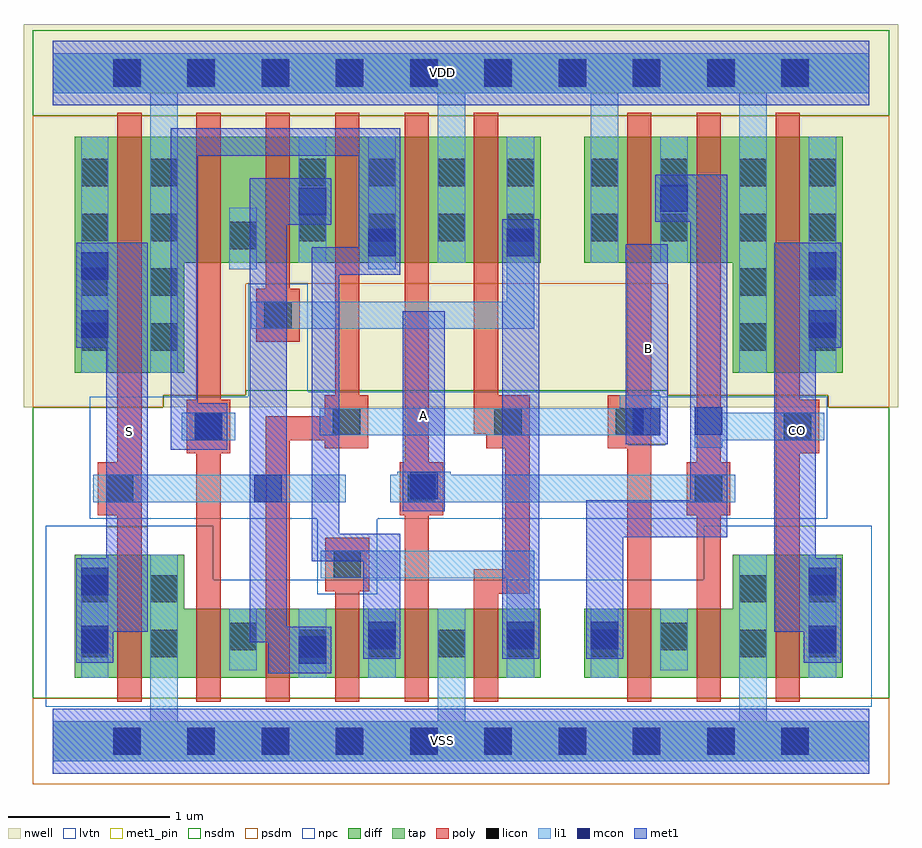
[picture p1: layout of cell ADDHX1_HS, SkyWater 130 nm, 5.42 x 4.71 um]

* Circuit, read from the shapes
.subckt ADDHX1_HS A B CO S VDD VSS
XM1 VSS n1 S VSS sky130_fd_pr__nfet_01v8_lvt w=0.76 l=0.15
XM2 n2 n3 VSS VSS sky130_fd_pr__nfet_01v8_lvt w=0.425 l=0.15
XM3 n1 B n2 VSS sky130_fd_pr__nfet_01v8_lvt w=0.425 l=0.15
XM4 n3 n4 n1 VSS sky130_fd_pr__nfet_01v8_lvt w=0.425 l=0.15
XM5 VSS A n3 VSS sky130_fd_pr__nfet_01v8_lvt w=0.425 l=0.15
XM6 n4 B VSS VSS sky130_fd_pr__nfet_01v8_lvt w=0.425 l=0.15
XM7 n5 B n6 VSS sky130_fd_pr__nfet_01v8_lvt w=0.425 l=0.15
XM8 VSS A n5 VSS sky130_fd_pr__nfet_01v8_lvt w=0.425 l=0.15
XM9 CO n6 VSS VSS sky130_fd_pr__nfet_01v8_lvt w=0.76 l=0.15
XM10 VDD n1 S VDD sky130_fd_pr__pfet_01v8 w=1.46 l=0.15
XM11 n7 n3 VDD VDD sky130_fd_pr__pfet_01v8 w=0.78 l=0.15
XM12 n1 n4 n7 VDD sky130_fd_pr__pfet_01v8 w=0.78 l=0.15
XM13 n3 B n1 VDD sky130_fd_pr__pfet_01v8 w=0.78 l=0.15
XM14 VDD A n3 VDD sky130_fd_pr__pfet_01v8 w=0.78 l=0.15
XM15 n4 B VDD VDD sky130_fd_pr__pfet_01v8 w=0.78 l=0.15
XM16 n6 B VDD VDD sky130_fd_pr__pfet_01v8 w=0.78 l=0.15
XM17 VDD A n6 VDD sky130_fd_pr__pfet_01v8 w=0.78 l=0.15
XM18 CO n6 VDD VDD sky130_fd_pr__pfet_01v8 w=1.46 l=0.15
.ends

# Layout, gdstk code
from math import pi, radians
import gdstk
lib = gdstk.Library(unit=1e-6, precision=1e-09)
def R(c, l, rs):  # rectangles x0, y0, x1, y1
    for r in rs: c.add(gdstk.rectangle(r[:2], r[2:], *l))
def A(c, l, x, y, w, h, nx, ny, dx, dy):  # array of equal rectangles
    R(c, l, [(x+i*dx, y+j*dy, x+i*dx+w, y+j*dy+h) for i in range(nx) for j in range(ny)])
def P(c, l, *ps):  # polygons
    for p in ps: c.add(gdstk.Polygon(p, *l))
nwell = (64, 20)
diff = (65, 20)
tap = (65, 44)
poly = (66, 20)
licon = (66, 44)
li1 = (67, 20)
mcon = (67, 44)
met1_pin = (68, 16)
met1 = (68, 20)
nsdm = (93, 44)
psdm = (94, 20)
npc = (95, 20)
lvtn = (125, 44)

l1m1_c_cdns_750721774078 = lib.new_cell('L1M1_C_CDNS_750721774078')
R(l1m1_c_cdns_750721774078, li1, [(-0.165,-0.165,0.085,0.085)])
R(l1m1_c_cdns_750721774078, mcon, [(-0.085,-0.085,0.085,0.085)])
R(l1m1_c_cdns_750721774078, met1, [(-0.115,-0.145,0.115,0.145)])

l1m1_c_cdns_750721774079 = lib.new_cell('L1M1_C_CDNS_750721774079')
R(l1m1_c_cdns_750721774079, li1, [(-0.085,-0.165,0.085,0.085)])
R(l1m1_c_cdns_750721774079, mcon, [(-0.085,-0.085,0.085,0.085)])
R(l1m1_c_cdns_750721774079, met1, [(-0.115,-0.145,0.115,0.145)])

l1m1_c_cdns_750721774072 = lib.new_cell('L1M1_C_CDNS_750721774072')
R(l1m1_c_cdns_750721774072, li1, [(-0.085,-0.165,0.085,0.165)])
R(l1m1_c_cdns_750721774072, mcon, [(-0.085,-0.085,0.085,0.085)])
R(l1m1_c_cdns_750721774072, met1, [(-0.115,-0.145,0.115,0.145)])

pyl1con_c_cdns_750721774 = lib.new_cell('PYL1CON_C_CDNS_750721774073')
R(pyl1con_c_cdns_750721774, poly, [(-0.135,-0.165,0.135,0.165)])
R(pyl1con_c_cdns_750721774, licon, [(-0.085,-0.085,0.085,0.085)])
R(pyl1con_c_cdns_750721774, npc, [(-0.185,-0.185,0.185,0.185)])

l1m1_c_cdns_750721774074 = lib.new_cell('L1M1_C_CDNS_750721774074')
R(l1m1_c_cdns_750721774074, li1, [(-0.165,-0.085,0.165,0.085)])
R(l1m1_c_cdns_750721774074, mcon, [(-0.085,-0.085,0.085,0.085)])
R(l1m1_c_cdns_750721774074, met1, [(-0.115,-0.145,0.115,0.145)])

licondiff_c_cdns_7507217 = lib.new_cell('LICONDIFF_C_CDNS_750721774075')
R(licondiff_c_cdns_7507217, diff, [(-0.125,-0.145,0.125,0.145)])
R(licondiff_c_cdns_7507217, licon, [(-0.085,-0.085,0.085,0.085), (-0.085,-0.085,0.085,0.085)])

l1m1_c_cdns_750721774076 = lib.new_cell('L1M1_C_CDNS_750721774076')
R(l1m1_c_cdns_750721774076, li1, [(-0.085,-0.345,0.085,0.345)])
R(l1m1_c_cdns_750721774076, mcon, [(-0.085,-0.265,0.085,-0.095), (-0.085,0.095,0.085,0.265)])
R(l1m1_c_cdns_750721774076, met1, [(-0.115,-0.325,0.115,0.325)])

addhx1_hs = lib.new_cell('ADDHX1_HS')
R(addhx1_hs, nwell, [(-0.18,2.07,5.24,4.305), (-0.045,2.105,0.995,3.925), (4.035,2.105,5.075,3.925), (0.635,2.785,1.275,3.925), (0.915,2.785,1.875,3.925), (1.515,2.785,2.305,3.925), (1.945,2.785,2.735,3.925), (2.375,2.785,3.205,3.925), (3.115,2.785,4.115,3.925), (3.755,2.785,4.395,3.925), (-0.18,3.875,5.24,4.445)])
A(addhx1_hs, diff, 0.89, 0.395, 0.15, 0.425, 5, 1, 0.43, 0)
A(addhx1_hs, diff, 0.89, 2.965, 0.15, 0.78, 5, 1, 0.43, 0)
A(addhx1_hs, diff, 1.47, 2.965, 0.225, 0.78, 3, 1, 0.43, 0)
A(addhx1_hs, diff, 1.695, 2.965, 0.055, 0.78, 3, 1, 0.43, 0)
R(addhx1_hs, diff, [(0.135,0.395,0.4,1.155), (0.4,0.395,0.55,1.155), (0.55,0.395,0.815,1.155), (0.815,0.395,0.89,0.82), (1.04,0.395,1.265,0.82), (1.265,0.395,1.32,0.82), (1.47,0.395,1.695,0.82), (1.695,0.395,1.75,0.82), (1.9,0.395,1.955,0.82), (1.955,0.395,2.18,0.82), (2.33,0.395,2.385,0.82), (2.385,0.395,2.61,0.82), (2.76,0.395,3.025,0.82), (3.295,0.395,3.56,0.82), (3.56,0.395,3.71,0.82), (3.71,0.395,3.765,0.82), (3.765,0.395,3.99,0.82), (3.99,0.395,4.14,0.82), (4.14,0.395,4.215,0.82), (4.215,0.395,4.48,1.155), (4.48,0.395,4.63,1.155), (4.63,0.395,4.895,1.155), (0.135,2.285,0.4,3.745), (0.4,2.285,0.55,3.745), (0.55,2.285,0.815,3.745), (4.215,2.285,4.48,3.745), (4.48,2.285,4.63,3.745), (4.63,2.285,4.895,3.745), (0.815,2.965,0.89,3.745), (1.04,2.965,1.095,3.745), (1.095,2.965,1.32,3.745), (2.76,2.965,3.025,3.745), (3.295,2.965,3.56,3.745), (3.56,2.965,3.71,3.745), (3.71,2.965,3.935,3.745), (3.935,2.965,3.99,3.745), (3.99,2.965,4.14,3.745), (4.14,2.965,4.215,3.745)])
A(addhx1_hs, poly, 0.89, 0.245, 0.15, 0.055, 5, 2, 0.43, 0.67)
A(addhx1_hs, poly, 0.89, 0.3, 0.15, 0.095, 5, 2, 0.43, 0.52)
A(addhx1_hs, poly, 0.89, 0.395, 0.15, 0.425, 5, 1, 0.43, 0)
A(addhx1_hs, poly, 1.75, 2.815, 0.15, 0.055, 3, 1, 0.43, 0)
A(addhx1_hs, poly, 0.89, 2.87, 0.15, 0.095, 5, 2, 0.43, 0.875)
A(addhx1_hs, poly, 0.89, 2.965, 0.15, 0.78, 5, 1, 0.43, 0)
A(addhx1_hs, poly, 0.89, 3.84, 0.15, 0.055, 5, 1, 0.43, 0)
R(addhx1_hs, poly, [(0.4,0.245,0.55,0.3), (3.56,0.245,3.71,0.3), (3.99,0.245,4.14,0.3), (4.48,0.245,4.63,0.3), (0.4,0.3,0.55,0.395), (3.56,0.3,3.71,0.395), (3.99,0.3,4.14,0.395), (4.48,0.3,4.63,0.395), (0.4,0.395,0.55,1.155), (3.56,0.395,3.71,0.82), (3.99,0.395,4.14,0.82), (4.48,0.395,4.63,1.155), (3.56,0.82,3.71,0.915), (3.99,0.82,4.14,0.915), (3.56,0.915,3.71,0.97), (3.99,0.915,4.14,0.97), (0.4,1.155,0.55,1.25), (4.48,1.155,4.63,1.25), (0.4,1.25,0.55,1.305), (4.48,1.25,4.63,1.305), (0.4,2.135,0.55,2.19), (4.48,2.135,4.63,2.19), (0.4,2.19,0.55,2.285), (4.48,2.19,4.63,2.285), (0.4,2.285,0.55,3.745), (4.48,2.285,4.63,3.745), (1.32,2.65,1.47,2.87), (0.89,2.815,1.04,2.87), (3.56,2.815,3.71,2.87), (3.99,2.815,4.14,2.87), (3.56,2.87,3.71,2.965), (3.99,2.87,4.14,2.965), (3.56,2.965,3.71,3.745), (3.99,2.965,4.14,3.745), (0.4,3.745,0.55,3.84), (3.56,3.745,3.71,3.84), (3.99,3.745,4.14,3.84), (4.48,3.745,4.63,3.84), (0.4,3.84,0.55,3.895), (3.56,3.84,3.71,3.895), (3.99,3.84,4.14,3.895), (4.48,3.84,4.63,3.895)])
A(addhx1_hs, licon, 0.375, -0.085, 0.17, 0.17, 10, 2, 0.46, 4.14)
A(addhx1_hs, licon, 1.525, 0.52, 0.17, 0.17, 4, 2, 0.43, 2.58)
A(addhx1_hs, licon, 0.175, 2.42, 0.17, 0.17, 1, 4, 0, 0.34)
A(addhx1_hs, licon, 0.605, 2.42, 0.17, 0.17, 1, 4, 0, 0.34)
A(addhx1_hs, licon, 4.255, 2.42, 0.17, 0.17, 1, 4, 0, 0.34)
A(addhx1_hs, licon, 4.685, 2.42, 0.17, 0.17, 1, 4, 0, 0.34)
A(addhx1_hs, licon, 1.525, 3.44, 0.17, 0.17, 4, 1, 0.43, 0)
R(addhx1_hs, licon, [(0.175,0.52,0.345,0.69), (0.605,0.52,0.775,0.69), (3.335,0.52,3.505,0.69), (4.255,0.52,4.425,0.69), (4.685,0.52,4.855,0.69), (0.175,0.86,0.345,1.03), (0.605,0.86,0.775,1.03), (4.255,0.86,4.425,1.03), (4.685,0.86,4.855,1.03), (3.335,3.1,3.505,3.27), (3.765,3.1,3.935,3.27), (3.335,3.44,3.505,3.61), (3.765,3.44,3.935,3.61)])
A(addhx1_hs, li1, 1.525, 0.395, 0.17, 0.425, 4, 1, 0.43, 0)
A(addhx1_hs, li1, 1.525, 2.965, 0.17, 0.78, 4, 1, 0.43, 0)
R(addhx1_hs, li1, [(0.175,0.395,0.345,1.155), (0.605,0.395,0.775,1.155), (3.335,0.395,3.505,0.82), (4.255,0.395,4.425,1.155), (4.685,0.395,4.855,1.155), (0.175,2.285,0.345,3.745), (0.605,2.285,0.775,3.745), (4.255,2.285,4.425,3.745), (4.685,2.285,4.855,3.745), (3.335,2.965,3.505,3.745), (3.765,2.965,3.935,3.745)])
A(addhx1_hs, mcon, 0.375, -0.085, 0.17, 0.17, 10, 2, 0.46, 4.14)
R(addhx1_hs, met1_pin, [(0.33,1.325,0.59,3.09), (4.47,1.33,4.73,3.09), (2.17,1.425,2.43,2.665), (3.55,1.84,3.81,3.08)])
R(addhx1_hs, met1, [(1.925,0.51,2.155,1.285), (1.895,2.89,2.155,3.635)])
R(addhx1_hs, nsdm, [(-0.005,0.265,0.955,1.285), (0.935,0.265,1.275,0.95), (1.255,0.265,1.705,0.95), (1.685,0.265,1.965,0.95), (1.945,0.265,2.395,0.95), (2.375,0.265,3.165,0.95), (3.155,0.265,3.775,0.95), (3.755,0.265,4.095,0.95), (4.075,0.265,5.035,1.285), (-0.125,3.875,5.185,4.405), (-0.125,3.93,5.185,4.35)])
P(addhx1_hs, nsdm, [(5.185,2.07),(4.805,2.07),(4.805,2.145),(3.81,2.145),(3.81,2.175),(1.195,2.175),(1.195,2.145),(0.685,2.145),(0.685,2.07),(-0.125,2.07),(-0.125,0.265),(5.185,0.265)])
R(addhx1_hs, psdm, [(-0.125,-0.265,5.185,0.265), (-0.125,-0.21,5.185,0.21), (-0.005,2.155,0.955,3.875), (4.075,2.155,5.035,3.875), (0.935,2.835,1.105,3.875), (1.085,2.835,1.705,3.875), (1.685,2.835,2.135,3.875), (2.115,2.835,2.565,3.875), (2.545,2.835,3.165,3.875), (3.155,2.835,3.945,3.875), (3.925,2.835,4.095,3.875)])
P(addhx1_hs, psdm, [(5.185,3.875),(-0.125,3.875),(-0.125,2.07),(0.685,2.07),(0.685,2.145),(1.195,2.145),(1.195,2.835),(3.81,2.835),(3.81,2.145),(4.805,2.145),(4.805,2.07),(5.185,2.07)])
R(addhx1_hs, npc, [(1.64,0.91,2.01,1.43), (1.21,2.045,1.58,2.835)])
P(addhx1_hs, npc, [(4.8,2.135),(3.76,2.135),(3.76,2.165),(1.21,2.165),(1.21,2.135),(0.23,2.135),(0.23,1.38),(4.8,1.38)])
R(addhx1_hs, lvtn, [(-0.045,0.215,0.995,1.335), (0.635,0.215,1.445,1), (1.085,0.215,1.875,1), (1.515,0.215,2.135,1), (1.775,0.215,2.565,1), (2.205,0.215,3.205,1), (3.115,0.215,3.945,1), (3.585,0.215,4.395,1), (4.035,0.215,5.075,1.335)])
addhx1_hs.add(gdstk.FlexPath([(4.34,0.59),(4.34,0)], 0.17, ends=(0, 0.125), simple_path=True, layer=67, datatype=20))  # li1
addhx1_hs.add(gdstk.FlexPath([(4.34,0),(5.06,0)], 0.25, ends=(0.085, 0), simple_path=True, layer=67, datatype=20))  # li1
addhx1_hs.add(gdstk.FlexPath([(0.69,0),(2.47,0)], 0.25, ends=(0.085, 0.085), simple_path=True, layer=67, datatype=20))  # li1
addhx1_hs.add(gdstk.FlexPath([(2.47,0),(3.42,0)], 0.25, ends=(0.085, 0.085), simple_path=True, layer=67, datatype=20))  # li1
addhx1_hs.add(gdstk.FlexPath([(3.42,0),(4.34,0)], 0.25, ends=(0.085, 0.085), simple_path=True, layer=67, datatype=20))  # li1
addhx1_hs.add(gdstk.FlexPath([(0,0),(0.69,0)], 0.25, ends=(0, 0.085), simple_path=True, layer=67, datatype=20))  # li1
addhx1_hs.add(gdstk.FlexPath([(2.47,4.14),(3.42,4.14)], 0.25, ends=(0.085, 0.085), simple_path=True, layer=67, datatype=20))  # li1
addhx1_hs.add(gdstk.FlexPath([(2.47,3.55),(2.47,4.14)], 0.17, ends=(0, 0.125), simple_path=True, layer=67, datatype=20))  # li1
addhx1_hs.add(gdstk.FlexPath([(0.69,3.55),(0.69,4.14)], 0.17, ends=(0, 0.125), simple_path=True, layer=67, datatype=20))  # li1
addhx1_hs.add(gdstk.FlexPath([(4.34,4.14),(5.06,4.14)], 0.25, ends=(0.085, 0), simple_path=True, layer=67, datatype=20))  # li1
addhx1_hs.add(gdstk.FlexPath([(4.34,3.55),(4.34,4.14)], 0.17, ends=(0, 0.125), simple_path=True, layer=67, datatype=20))  # li1
addhx1_hs.add(gdstk.FlexPath([(0.69,4.14),(2.47,4.14)], 0.25, ends=(0.085, 0.085), simple_path=True, layer=67, datatype=20))  # li1
addhx1_hs.add(gdstk.FlexPath([(0,4.14),(0.69,4.14)], 0.25, ends=(0, 0.085), simple_path=True, layer=67, datatype=20))  # li1
addhx1_hs.add(gdstk.FlexPath([(1.18,2.925),(1.18,3.305)], 0.17, ends="flush", simple_path=True, layer=67, datatype=20))  # li1
addhx1_hs.add(gdstk.FlexPath([(3.85,0.44),(3.85,0.82)], 0.17, ends="flush", simple_path=True, layer=67, datatype=20))  # li1
addhx1_hs.add(gdstk.FlexPath([(1.18,0.44),(1.18,0.82)], 0.17, ends="flush", simple_path=True, layer=67, datatype=20))  # li1
addhx1_hs.add(gdstk.FlexPath([(0.69,0.59),(0.69,0)], 0.17, ends=(0, 0.125), simple_path=True, layer=67, datatype=20))  # li1
addhx1_hs.add(gdstk.FlexPath([(1.815,1.565),(0.25,1.565)], 0.17, ends="flush", simple_path=True, layer=67, datatype=20))  # li1
addhx1_hs.add(gdstk.FlexPath([(2.9,3.14),(2.815,3.14)], 0.17, ends=(0.085, 0), simple_path=True, layer=67, datatype=20))  # li1
addhx1_hs.add(gdstk.FlexPath([(2.9,2.64),(2.9,3.14)], 0.17, ends="extended", simple_path=True, layer=67, datatype=20))  # li1
addhx1_hs.add(gdstk.FlexPath([(1.23,2.64),(2.9,2.64)], 0.17, ends=(0, 0.085), simple_path=True, layer=67, datatype=20))  # li1
addhx1_hs.add(gdstk.FlexPath([(2.9,0.605),(2.815,0.605)], 0.17, ends=(0.085, 0), simple_path=True, layer=67, datatype=20))  # li1
addhx1_hs.add(gdstk.FlexPath([(2.9,1.095),(2.9,0.605)], 0.17, ends="extended", simple_path=True, layer=67, datatype=20))  # li1
addhx1_hs.add(gdstk.FlexPath([(1.66,1.095),(2.9,1.095)], 0.17, ends=(0, 0.085), simple_path=True, layer=67, datatype=20))  # li1
addhx1_hs.add(gdstk.FlexPath([(3.42,3.55),(3.42,4.14)], 0.17, ends=(0, 0.125), simple_path=True, layer=67, datatype=20))  # li1
addhx1_hs.add(gdstk.FlexPath([(2.09,1.565),(4.23,1.565)], 0.17, ends="flush", simple_path=True, layer=67, datatype=20))  # li1
addhx1_hs.add(gdstk.FlexPath([(3.42,4.14),(4.34,4.14)], 0.25, ends=(0.085, 0.085), simple_path=True, layer=67, datatype=20))  # li1
addhx1_hs.add(gdstk.FlexPath([(2.47,0.59),(2.47,0)], 0.17, ends=(0, 0.125), simple_path=True, layer=67, datatype=20))  # li1
addhx1_hs.add(gdstk.FlexPath([(1.655,1.98),(3.74,1.98)], 0.17, ends="flush", simple_path=True, layer=67, datatype=20))  # li1
addhx1_hs.add(gdstk.FlexPath([(4.065,1.95),(4.78,1.95)], 0.17, ends=(0.085, 0), simple_path=True, layer=67, datatype=20))  # li1
addhx1_hs.add(gdstk.FlexPath([(2.685,1.98),(2.82,1.98)], 0.15, ends=(0.075, 0), simple_path=True, layer=66, datatype=20))  # poly
addhx1_hs.add(gdstk.FlexPath([(2.88,0.99),(2.61,0.99)], 0.15, ends=(0.075, 0), simple_path=True, layer=66, datatype=20))  # poly
addhx1_hs.add(gdstk.FlexPath([(2.685,2.83),(2.685,1.98)], 0.15, ends=(0, 0.075), simple_path=True, layer=66, datatype=20))  # poly
addhx1_hs.add(gdstk.FlexPath([(1.395,0.97),(1.395,1.94)], 0.15, ends=(0, 0.075), simple_path=True, layer=66, datatype=20))  # poly
addhx1_hs.add(gdstk.FlexPath([(1.395,1.94),(1.825,1.94)], 0.15, ends="extended", simple_path=True, layer=66, datatype=20))  # poly
addhx1_hs.add(gdstk.FlexPath([(1.825,1.94),(1.825,2.83)], 0.15, ends=(0.075, 0), simple_path=True, layer=66, datatype=20))  # poly
addhx1_hs.add(gdstk.FlexPath([(4.555,2.135),(4.555,1.25)], 0.15, ends="flush", simple_path=True, layer=66, datatype=20))  # poly
addhx1_hs.add(gdstk.FlexPath([(4.065,0.97),(4.065,2.83)], 0.15, ends="flush", simple_path=True, layer=66, datatype=20))  # poly
addhx1_hs.add(gdstk.FlexPath([(3.635,0.97),(3.635,2.83)], 0.15, ends="flush", simple_path=True, layer=66, datatype=20))  # poly
addhx1_hs.add(gdstk.FlexPath([(0.475,2.135),(0.475,1.25)], 0.15, ends="flush", simple_path=True, layer=66, datatype=20))  # poly
addhx1_hs.add(gdstk.FlexPath([(0.965,0.97),(0.965,2.83)], 0.15, ends="flush", simple_path=True, layer=66, datatype=20))  # poly
addhx1_hs.add(gdstk.FlexPath([(2.255,0.97),(2.255,2.83)], 0.15, ends="flush", simple_path=True, layer=66, datatype=20))  # poly
addhx1_hs.add(gdstk.FlexPath([(2.88,2.145),(2.88,0.99)], 0.15, ends=(0, 0.075), simple_path=True, layer=66, datatype=20))  # poly
addhx1_hs.add(gdstk.FlexPath([(0.815,2),(0.815,1.805)], 0.17, ends="flush", simple_path=True, layer=68, datatype=20))  # met1
addhx1_hs.add(gdstk.FlexPath([(1.61,3.345),(1.335,3.345)], 0.29, ends="flush", simple_path=True, layer=68, datatype=20))  # met1
addhx1_hs.add(gdstk.FlexPath([(0,0),(5.06,0)], 0.4, ends="flush", simple_path=True, layer=68, datatype=20))  # met1
addhx1_hs.add(gdstk.FlexPath([(0,4.14),(5.06,4.14)], 0.4, ends="flush", simple_path=True, layer=68, datatype=20))  # met1
addhx1_hs.add(gdstk.FlexPath([(2.04,2.975),(2.04,3.055)], 0.17, ends="extended", simple_path=True, layer=68, datatype=20))  # met1
addhx1_hs.add(gdstk.FlexPath([(1.61,0.565),(1.335,0.565)], 0.29, ends="flush", simple_path=True, layer=68, datatype=20))  # met1
addhx1_hs.add(gdstk.FlexPath([(3.85,1.38),(4.18,1.38)], 0.23, ends="flush", simple_path=True, layer=68, datatype=20))  # met1
addhx1_hs.add(gdstk.FlexPath([(2.3,1.425),(2.3,2.665)], 0.26, ends="flush", simple_path=True, layer=68, datatype=20))  # met1
addhx1_hs.add(gdstk.FlexPath([(3.68,1.84),(3.68,3.08)], 0.26, ends="flush", simple_path=True, layer=68, datatype=20))  # met1
addhx1_hs.add(gdstk.FlexPath([(0.46,0.68),(0.46,3.09)], 0.26, ends="flush", simple_path=True, layer=68, datatype=20))  # met1
addhx1_hs.add(gdstk.FlexPath([(4.6,0.68),(4.6,3.09)], 0.26, ends="flush", simple_path=True, layer=68, datatype=20))  # met1
addhx1_hs.add(gdstk.FlexPath([(0.815,3.715),(0.815,2)], 0.17, ends=(0.085, 0), simple_path=True, layer=68, datatype=20))  # met1
addhx1_hs.add(gdstk.FlexPath([(2.07,3.055),(2.07,3.715)], 0.17, ends="extended", simple_path=True, layer=68, datatype=20))  # met1
addhx1_hs.add(gdstk.FlexPath([(2.07,3.715),(0.815,3.715)], 0.17, ends="extended", simple_path=True, layer=68, datatype=20))  # met1
addhx1_hs.add(gdstk.FlexPath([(1.69,1.2),(1.69,2.975)], 0.17, ends="extended", simple_path=True, layer=68, datatype=20))  # met1
addhx1_hs.add(gdstk.FlexPath([(2.04,1.2),(1.69,1.2)], 0.17, ends="extended", simple_path=True, layer=68, datatype=20))  # met1
addhx1_hs.add(gdstk.FlexPath([(2.04,3.055),(2.07,3.055)], 0.17, ends="extended", simple_path=True, layer=68, datatype=20))  # met1
addhx1_hs.add(gdstk.FlexPath([(1.69,2.975),(2.04,2.975)], 0.17, ends="extended", simple_path=True, layer=68, datatype=20))  # met1
addhx1_hs.add(gdstk.FlexPath([(4.065,1.575),(4.065,3.51)], 0.23, ends=(0.115, 0), simple_path=True, layer=68, datatype=20))  # met1
addhx1_hs.add(gdstk.FlexPath([(3.42,1.38),(3.85,1.38)], 0.23, ends="extended", simple_path=True, layer=68, datatype=20))  # met1
addhx1_hs.add(gdstk.FlexPath([(3.42,0.51),(3.42,1.38)], 0.23, ends=(0, 0.115), simple_path=True, layer=68, datatype=20))  # met1
addhx1_hs.add(gdstk.FlexPath([(1.335,3.49),(1.335,0.615)], 0.23, ends="flush", simple_path=True, layer=68, datatype=20))  # met1
addhx1_hs.add(gdstk.FlexPath([(2.04,0.85),(2.04,1.2)], 0.17, ends=(0, 0.085), simple_path=True, layer=68, datatype=20))  # met1
addhx1_hs.add(gdstk.FlexPath([(2.9,0.705),(2.9,3.235)], 0.23, ends="flush", simple_path=True, layer=68, datatype=20))  # met1
addhx1_hs.add(gdstk.FlexPath([(0,0),(5.06,0)], 0.25, ends="flush", simple_path=True, layer=65, datatype=44))  # tap
addhx1_hs.add(gdstk.FlexPath([(0,4.14),(5.06,4.14)], 0.25, ends="flush", simple_path=True, layer=65, datatype=44))  # tap
addhx1_hs.add(gdstk.FlexPath([(0,4.14),(5.06,4.14)], 0.4, ends="flush", simple_path=True, layer=68, datatype=16))  # met1_pin
addhx1_hs.add(gdstk.FlexPath([(0,0),(5.06,0)], 0.4, ends="flush", simple_path=True, layer=68, datatype=16))  # met1_pin
addhx1_hs.add(gdstk.Reference(l1m1_c_cdns_750721774078, (3.68,1.98), x_reflection=True))
addhx1_hs.add(gdstk.Reference(l1m1_c_cdns_750721774079, (4.065,1.985)))
addhx1_hs.add(gdstk.Reference(l1m1_c_cdns_750721774072, (3.85,3.365)))
addhx1_hs.add(gdstk.Reference(l1m1_c_cdns_750721774072, (3.42,0.655)))
addhx1_hs.add(gdstk.Reference(l1m1_c_cdns_750721774072, (1.61,3.345), rotation=pi, x_reflection=True))
addhx1_hs.add(gdstk.Reference(l1m1_c_cdns_750721774072, (1.61,0.565), rotation=pi, x_reflection=True))
addhx1_hs.add(gdstk.Reference(l1m1_c_cdns_750721774072, (2.04,3.09), rotation=pi, x_reflection=True))
addhx1_hs.add(gdstk.Reference(l1m1_c_cdns_750721774072, (2.04,0.655), rotation=pi, x_reflection=True))
addhx1_hs.add(gdstk.Reference(l1m1_c_cdns_750721774072, (2.9,3.09), rotation=pi, x_reflection=True))
addhx1_hs.add(gdstk.Reference(l1m1_c_cdns_750721774072, (2.9,0.655), rotation=pi, x_reflection=True))
addhx1_hs.add(gdstk.Reference(pyl1con_c_cdns_750721774, (0.415,1.565)))
addhx1_hs.add(gdstk.Reference(pyl1con_c_cdns_750721774, (0.965,1.95), x_reflection=True))
addhx1_hs.add(gdstk.Reference(pyl1con_c_cdns_750721774, (2.285,1.565)))
addhx1_hs.add(gdstk.Reference(pyl1con_c_cdns_750721774, (4.065,1.565)))
addhx1_hs.add(gdstk.Reference(pyl1con_c_cdns_750721774, (4.615,1.95)))
addhx1_hs.add(gdstk.Reference(pyl1con_c_cdns_750721774, (3.575,1.98)))
addhx1_hs.add(gdstk.Reference(pyl1con_c_cdns_750721774, (1.82,1.98), rotation=pi))
addhx1_hs.add(gdstk.Reference(pyl1con_c_cdns_750721774, (2.82,1.98)))
addhx1_hs.add(gdstk.Reference(pyl1con_c_cdns_750721774, (1.825,1.095)))
addhx1_hs.add(gdstk.Reference(pyl1con_c_cdns_750721774, (1.395,2.64), rotation=pi))
addhx1_hs.add(gdstk.Reference(l1m1_c_cdns_750721774074, (2.3,1.585), x_reflection=True))
addhx1_hs.add(gdstk.Reference(l1m1_c_cdns_750721774074, (1.335,1.565)))
addhx1_hs.add(gdstk.Reference(l1m1_c_cdns_750721774074, (0.965,1.95)))
addhx1_hs.add(gdstk.Reference(licondiff_c_cdns_7507217, (1.18,3.135)))
addhx1_hs.add(gdstk.Reference(licondiff_c_cdns_7507217, (3.85,0.65)))
addhx1_hs.add(gdstk.Reference(licondiff_c_cdns_7507217, (1.18,0.65)))
addhx1_hs.add(gdstk.Reference(l1m1_c_cdns_750721774076, (4.77,0.81)))
addhx1_hs.add(gdstk.Reference(l1m1_c_cdns_750721774076, (4.77,2.765)))
addhx1_hs.add(gdstk.Reference(l1m1_c_cdns_750721774076, (0.26,0.81), rotation=pi, x_reflection=True))
addhx1_hs.add(gdstk.Reference(l1m1_c_cdns_750721774076, (0.26,2.765), rotation=pi, x_reflection=True))
addhx1_hs.add(gdstk.Label('VDD', (2.415,4.145), layer=68, texttype=5))
addhx1_hs.add(gdstk.Label('CO', (4.615,1.925), layer=68, texttype=5))
addhx1_hs.add(gdstk.Label('B', (3.695,2.435), layer=68, texttype=5))
addhx1_hs.add(gdstk.Label('S', (0.475,1.92), layer=68, texttype=5))
addhx1_hs.add(gdstk.Label('A', (2.295,2.02), layer=68, texttype=5))
addhx1_hs.add(gdstk.Label('VSS', (2.415,0.005), layer=68, texttype=5))

lib.write_gds('ADDHX1_HS.gds')
